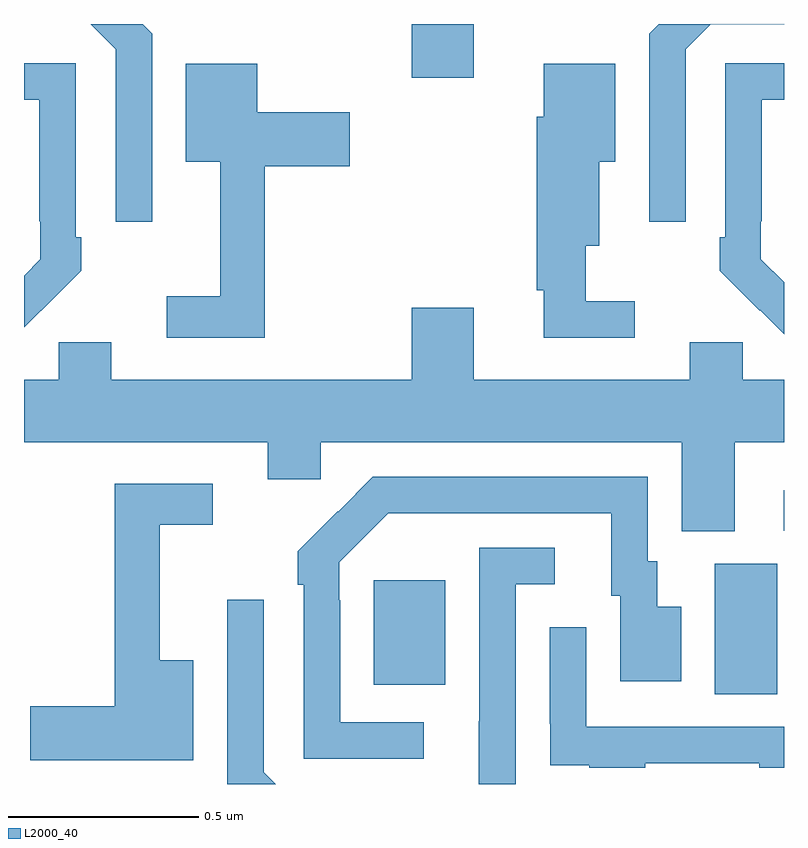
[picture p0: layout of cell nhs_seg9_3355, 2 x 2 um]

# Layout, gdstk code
import gdstk
lib = gdstk.Library(unit=1e-6, precision=1e-09)
def R(c, l, rs):  # rectangles x0, y0, x1, y1
    for r in rs: c.add(gdstk.rectangle(r[:2], r[2:], *l))
def P(c, l, *ps):  # polygons
    for p in ps: c.add(gdstk.Polygon(p, *l))
L2000_40 = (2000, 40)

nhs_seg9_3355 = lib.new_cell('nhs_seg9_3355')
R(nhs_seg9_3355, L2000_40, [(153.818,1215.736,153.982,1216.08), (152.921,1215.761,153.109,1216.036), (153.999,1216.167,154,1216.273), (153.02,1217.358,153.184,1217.5)])
P(nhs_seg9_3355, L2000_40, [(152.337,1217.475),(152.312,1217.5),(152,1217.5),(152,1217.499),(152.175,1217.499),(152.241,1217.433),(152.241,1216.98),(152.337,1216.98)],
  [(153.741,1217.433),(153.807,1217.499),(154,1217.499),(154,1217.5),(153.67,1217.5),(153.645,1217.475),(153.645,1216.98),(153.741,1216.98)],
  [(152.045,1216.747),(152.046,1216.746),(152.151,1216.851),(152.151,1216.939),(152.136,1216.939),(152.136,1217.397),(152,1217.397),(152,1217.301),(152.04,1217.301),(152.04,1216.981),(152.043,1216.981),(152.043,1216.881),(152,1216.838),(152,1216.702)],
  [(154,1216.82),(153.939,1216.881),(153.939,1216.981),(153.942,1216.981),(153.942,1217.301),(154,1217.301),(154,1217.397),(153.846,1217.397),(153.846,1216.939),(153.831,1216.939),(153.831,1216.851),(153.936,1216.746),(153.937,1216.747),(154,1216.684)],
  [(153.607,1216.771),(153.478,1216.771),(153.478,1216.916),(153.514,1216.916),(153.514,1217.138),(153.556,1217.138),(153.556,1217.395),(153.368,1217.395),(153.368,1217.256),(153.349,1217.256),(153.349,1216.799),(153.368,1216.799),(153.368,1216.674),(153.607,1216.674)],
  [(152.633,1217.126),(152.857,1217.126),(152.857,1217.268),(152.614,1217.268),(152.614,1217.395),(152.426,1217.395),(152.426,1217.138),(152.516,1217.138),(152.516,1216.783),(152.376,1216.783),(152.376,1216.674),(152.633,1216.674)],
  [(153.871,1216.4),(154,1216.4),(154,1216.564),(153.891,1216.564),(153.891,1216.662),(153.752,1216.662),(153.752,1216.564),(153.184,1216.564),(153.184,1216.753),(153.02,1216.753),(153.02,1216.564),(152.23,1216.564),(152.23,1216.662),(152.091,1216.662),(152.091,1216.564),(152,1216.564),(152,1216.4),(152.642,1216.4),(152.642,1216.302),(152.781,1216.302),(152.781,1216.4),(153.731,1216.4),(153.731,1216.165),(153.871,1216.165)],
  [(153.052,1215.663),(152.832,1215.663),(152.832,1215.983),(152.829,1215.983),(152.829,1216.083),(152.958,1216.212),(153.545,1216.212),(153.545,1215.996),(153.569,1215.996),(153.569,1215.771),(153.73,1215.771),(153.73,1215.967),(153.667,1215.967),(153.667,1216.086),(153.642,1216.086),(153.642,1216.308),(152.918,1216.308),(152.827,1216.217),(152.826,1216.218),(152.721,1216.113),(152.721,1216.025),(152.736,1216.025),(152.736,1215.567),(153.052,1215.567)],
  [(152.446,1215.826),(152.357,1215.826),(152.357,1216.182),(152.497,1216.182),(152.497,1216.29),(152.239,1216.29),(152.239,1215.704),(152.016,1215.704),(152.016,1215.562),(152.446,1215.562)],
  [(153.294,1216.026),(153.397,1216.026),(153.397,1216.122),(153.198,1216.122),(153.198,1215.665),(153.197,1215.665),(153.197,1215.5),(153.294,1215.5)],
  [(152.631,1215.531),(152.631,1215.985),(152.535,1215.985),(152.535,1215.5),(152.662,1215.5)],
  [(153.635,1215.555),(153.935,1215.555),(153.935,1215.543),(154,1215.543),(154,1215.651),(153.48,1215.651),(153.48,1215.913),(153.384,1215.913),(153.384,1215.658),(153.385,1215.658),(153.385,1215.549),(153.487,1215.549),(153.487,1215.543),(153.635,1215.543)])

lib.write_gds('nhs_seg9_3355.gds')
